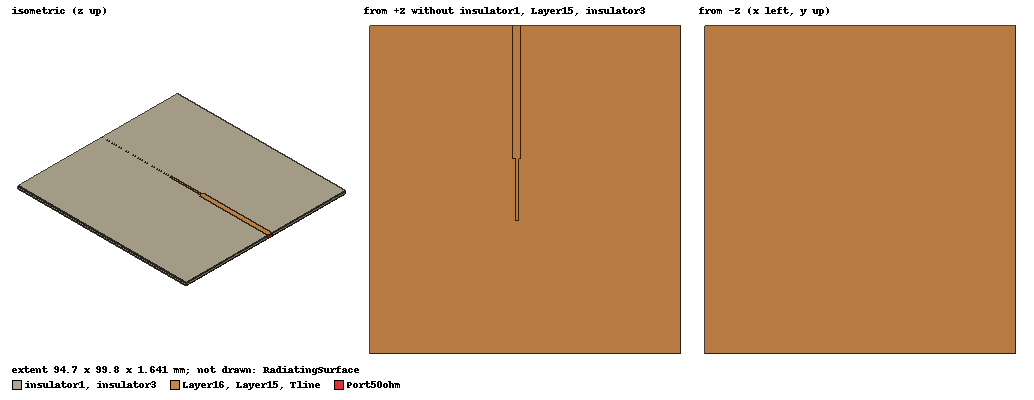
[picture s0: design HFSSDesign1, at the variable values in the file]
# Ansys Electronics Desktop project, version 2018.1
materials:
  vacuum: permittivity=1
  copper: permeability=0.999991 conductivity=58000000
  FR4_epoxy: permittivity=4.4 dielectric_loss_tangent=0.02

design HFSSDesign1 (HFSS, DrivenTerminal, model units mm)
options: open_region{BoundaryType=0 OpFreq=2.422GHz}
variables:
  zC = 0
  p = 0
  QWT = 0.953mm
  T50ohm = 2.575mm
  T144ohm = 0.149mm
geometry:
  insulator1 [FR4_epoxy] = box(corner=(-44.8mm, -49.9mm, -10.0356mm-zC*10mm+p*1.641mm), size=(94.7mm, 99.8mm, -0.1702mm))
  Layer2 = box(corner=(-44.8mm, -49.9mm, -10.2058mm-zC*10mm+p*1.641mm), size=(94.7mm, 99.8mm, -0.0178mm))
  insulator2 = box(corner=(-44.8mm, -49.9mm, -10.2236mm-zC*10mm+p*1.641mm), size=(94.7mm, 99.8mm, -1.1938mm))
  Layer15 [copper] = box(corner=(-44.8mm, -49.9mm, -11.4174mm-zC*10mm+p*1.641mm), size=(94.7mm, 99.8mm, -0.0178mm))
  insulator3 [FR4_epoxy] = box(corner=(-44.8mm, -49.9mm, -11.4352mm-zC*10mm+p*1.641mm), size=(94.7mm, 99.8mm, -0.1702mm))
  Layer16 [copper] = box(corner=(-44.8mm, -49.9mm, -11.6054mm-zC*10mm+p*1.641mm), size=(94.7mm, 99.8mm, -0.0356mm))
  QWT = box(corner=(QWT/2, 9.417mm, -10mm), size=(-QWT, -18.834mm, -0.0356mm))
  Tline [copper] = box(corner=(T50ohm/2, 9.417mm, -10mm), size=(-T50ohm, 40.483mm, -0.0356mm))
  T144ohm = box(corner=(T144ohm/2, -9.417mm, -10mm), size=(-T144ohm, -40.483mm, -0.0356mm))
  Port50ohm = rectangle(corner=(T50ohm/2, 49.9mm, -10mm), z_size=-1.641mm, x_size=-T50ohm)
  Port144ohm = rectangle(corner=(T144ohm/2, -49.9mm, -10mm), z_size=-1.641mm, x_size=-T144ohm)
  Tline.unite(T144ohm, QWT)
  insulator1.unite(Layer2, insulator2)
  RadiatingSurface [vacuum] = region(absolute_offset=41.288192mm on all sides)
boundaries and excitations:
  AutoOpen1: Radiation Objects=RadiatingSurface
  Tline_T1: Terminal port=1 Faces=Tline.face(+y) TerminalResistance=50ohm
  Tline_T2: Terminal port=2 Faces=Tline.face(3 of 6) TerminalResistance=50ohm
  1: Lumped Port Faces=Port50ohm.face Impedance=50ohm
  2: Lumped Port Faces=Port144ohm.face Impedance=144ohm
  reference conductors: Layer15, Layer16
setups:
  Tline: HfssDriven Frequency=2.422GHz MaxDeltaS=0.05 MaximumPasses=30 MinimumPasses=1 MinimumConvergedPasses=1 PercentRefinement=30 BasisOrder=1 PortAccuracy=2 IterativeResidual=1e-06 DDMSolverResidual=0.0001 IESolverType=ACA
    sweep Sweep: 2.122GHz to 2.622GHz step 10MHz; Type=Interpolating InterpTolerance=0.5 InterpMaxSolns=250 PassivityErrorTolerance=0.0001
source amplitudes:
  1:1: 1V 0deg
  2:1: 0V 0deg
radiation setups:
  3D: Infinite Sphere Theta=0deg..180deg step 2deg Phi=-180deg..180deg step 2deg
  Elevation: Infinite Sphere Theta=-180deg..180deg step 1deg Phi=0deg..90deg step 90deg
  Azimuth: Infinite Sphere Theta=90deg..90deg step 0deg Phi=-180deg..180deg step 1deg
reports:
  Terminal S Parameter Plot 1: dB(St(Tline_T1,Tline_T1)), dB(St(Tline_T2,Tline_T1)), dB(St(Tline_T2,Tline_T2)) vs Freq on Tline : Sweep
  Terminal S Parameter Chart 1: St(Tline_T1,Tline_T1), St(Tline_T2,Tline_T1), St(Tline_T2,Tline_T2) on Tline : Sweep [Freq=all]
